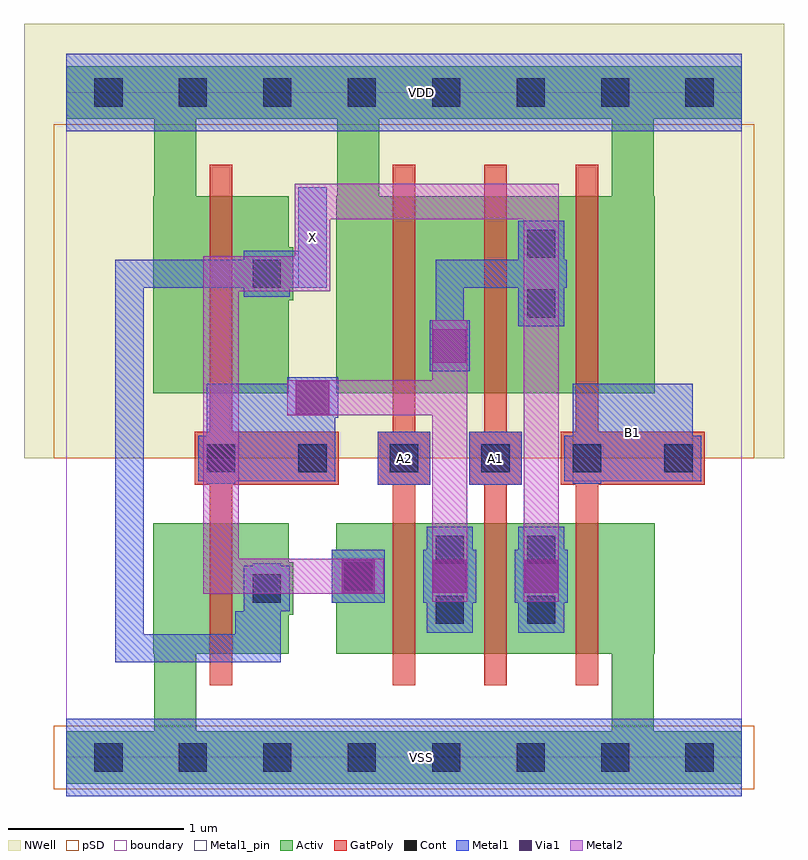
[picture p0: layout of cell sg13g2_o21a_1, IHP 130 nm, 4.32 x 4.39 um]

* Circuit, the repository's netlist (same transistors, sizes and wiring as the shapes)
.SUBCKT sg13g2_o21a_1 X A1 A2 B1 VDD VSS
*.PININFO A1:I A2:I B1:I X:O VDD:B VSS:B
MN0 net1 A1 net2 VSS sg13_lv_nmos w=740.00n l=130.00n ng=1
MN1 net1 A2 net2 VSS sg13_lv_nmos w=740.00n l=130.00n ng=1
MN2 net2 B1 VSS VSS sg13_lv_nmos w=740.00n l=130.00n ng=1
MP0 net1 A1 net3 VDD sg13_lv_pmos w=1.12u l=130.00n ng=1
MP1 net3 A2 VDD VDD sg13_lv_pmos w=1.12u l=130.00n ng=1
MP2 net1 B1 VDD VDD sg13_lv_pmos w=1.12u l=130.00n ng=1
MN3 X net1 VSS VSS sg13_lv_nmos w=740.00n l=130.00n ng=1
MP3 X net1 VDD VDD sg13_lv_pmos w=1.12u l=130.00n ng=1
.ENDS

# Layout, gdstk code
import gdstk
lib = gdstk.Library(unit=1e-6, precision=1e-09)
def R(c, l, rs):  # rectangles x0, y0, x1, y1
    for r in rs: c.add(gdstk.rectangle(r[:2], r[2:], *l))
def A(c, l, x, y, w, h, nx, ny, dx, dy):  # array of equal rectangles
    R(c, l, [(x+i*dx, y+j*dy, x+i*dx+w, y+j*dy+h) for i in range(nx) for j in range(ny)])
def P(c, l, *ps):  # polygons
    for p in ps: c.add(gdstk.Polygon(p, *l))
Activ = (1, 0)
GatPoly = (5, 0)
Cont = (6, 0)
Metal1 = (8, 0)
Metal1_pin = (8, 2)
Metal2 = (10, 0)
pSD = (14, 0)
Via1 = (19, 0)
NWell = (31, 0)
boundary = (189, 4)

sg13g2_o21a_1 = lib.new_cell('sg13g2_o21a_1')
P(sg13g2_o21a_1, Activ, [(0,-0.15),(3.84,-0.15),(3.84,0.15),(3.34,0.15),(3.34,0.59),(3.345,0.59),(3.345,1.33),(1.535,1.33),(1.535,1.18),(1.51,1.18),(1.51,0.88),(1.535,0.88),(1.535,0.59),(3.1,0.59),(3.1,0.15),(0.74,0.15),(0.74,0.59),(1.265,0.59),(1.265,0.81),(1.29,0.81),(1.29,1.11),(1.265,1.11),(1.265,1.33),(0.495,1.33),(0.495,0.59),(0.5,0.59),(0.5,0.15),(0,0.15)],
  [(1.78,3.63),(1.78,3.93),(0,3.93),(0,3.63),(0.5,3.63),(0.5,3.19),(0.495,3.19),(0.495,2.07),(1.265,2.07),(1.265,2.6),(1.29,2.6),(1.29,2.9),(1.265,2.9),(1.265,3.19),(0.74,3.19),(0.74,3.63),(1.54,3.63),(1.54,3.19),(1.535,3.19),(1.535,2.07),(1.78,2.07),(1.78,3.63),(3.1,3.63),(3.1,3.19),(1.78,3.19),(1.78,2.07),(3.345,2.07),(3.345,3.19),(3.34,3.19),(3.34,3.63),(3.84,3.63),(3.84,3.93),(1.78,3.93)])
P(sg13g2_o21a_1, GatPoly, [(0.73,1.55),(0.815,1.55),(0.815,0.41),(0.945,0.41),(0.945,1.55),(1.55,1.55),(1.55,1.85),(0.945,1.85),(0.945,3.37),(0.815,3.37),(0.815,1.85),(0.73,1.85)],
  [(1.77,1.55),(1.855,1.55),(1.855,0.41),(1.985,0.41),(1.985,1.55),(2.07,1.55),(2.07,1.85),(1.985,1.85),(1.985,3.37),(1.855,3.37),(1.855,1.85),(1.77,1.85)],
  [(2.29,1.55),(2.375,1.55),(2.375,0.41),(2.505,0.41),(2.505,1.55),(2.59,1.55),(2.59,1.85),(2.505,1.85),(2.505,3.37),(2.375,3.37),(2.375,1.85),(2.29,1.85)],
  [(2.81,1.55),(2.895,1.55),(2.895,0.41),(3.025,0.41),(3.025,1.55),(3.63,1.55),(3.63,1.85),(3.025,1.85),(3.025,3.37),(2.895,3.37),(2.895,1.85),(2.81,1.85)])
A(sg13g2_o21a_1, Cont, 0.16, -0.08, 0.16, 0.16, 8, 2, 0.48, 3.78)
A(sg13g2_o21a_1, Cont, 0.8, 1.62, 0.16, 0.16, 6, 1, 0.52, 0)
R(sg13g2_o21a_1, Cont, [(2.1,0.76,2.26,0.92), (2.62,0.76,2.78,0.92), (1.06,0.88,1.22,1.04), (1.58,0.95,1.74,1.11), (2.1,1.1,2.26,1.26), (2.62,1.1,2.78,1.26), (2.62,2.5,2.78,2.66), (1.06,2.67,1.22,2.83), (2.62,2.84,2.78,3)])
R(sg13g2_o21a_1, Metal1, [(0,-0.22,3.84,0.22), (1.51,0.88,1.81,1.18), (1.77,1.55,2.07,1.85), (2.29,1.55,2.59,1.85), (0,3.56,3.84,4)])
P(sg13g2_o21a_1, Metal1, [(0.28,0.54),(1.22,0.54),(1.22,0.83),(1.27,0.83),(1.27,1.09),(1.22,1.09),(1.22,1.105),(1.06,1.105),(1.06,1.09),(1.01,1.09),(1.01,0.83),(0.96,0.83),(0.96,0.7),(0.44,0.7),(0.44,2.67),(1.01,2.67),(1.01,2.62),(1.27,2.62),(1.27,2.67),(1.48,2.67),(1.48,3.24),(1.32,3.24),(1.32,2.88),(1.01,2.88),(1.01,2.83),(0.28,2.83)],
  [(0.75,1.57),(0.8,1.57),(0.8,1.555),(0.96,1.555),(0.96,1.57),(1.53,1.57),(1.53,1.93),(1.545,1.93),(1.545,2.16),(1.255,2.16),(1.255,2.125),(0.8,2.125),(0.8,1.83),(0.75,1.83)],
  [(2.03,0.88),(2.05,0.88),(2.05,0.71),(2.31,0.71),(2.31,0.88),(2.33,0.88),(2.33,1.18),(2.31,1.18),(2.31,1.31),(2.05,1.31),(2.05,1.18),(2.03,1.18)],
  [(2.065,2.195),(2.295,2.195),(2.295,2.485),(2.26,2.485),(2.26,2.67),(2.57,2.67),(2.57,2.45),(2.83,2.45),(2.83,2.67),(2.845,2.67),(2.845,2.83),(2.83,2.83),(2.83,3.05),(2.57,3.05),(2.57,2.83),(2.1,2.83),(2.1,2.485),(2.065,2.485)],
  [(2.55,0.88),(2.57,0.88),(2.57,0.71),(2.83,0.71),(2.83,0.88),(2.85,0.88),(2.85,1.18),(2.83,1.18),(2.83,1.31),(2.57,1.31),(2.57,1.18),(2.55,1.18)],
  [(2.83,1.57),(2.88,1.57),(2.88,1.555),(3.04,1.555),(3.04,1.57),(3.61,1.57),(3.61,1.83),(3.56,1.83),(3.56,2.125),(2.88,2.125),(2.88,1.83),(2.83,1.83)])
R(sg13g2_o21a_1, Metal1_pin, [(0,-0.22,3.84,0.22), (1.77,1.55,2.07,1.85), (2.29,1.55,2.59,1.85), (2.88,1.57,3.56,2.125), (1.32,2.67,1.48,3.24), (0,3.56,3.84,4)])
P(sg13g2_o21a_1, Metal2, [(0.78,0.93),(1.805,0.93),(1.805,1.13),(0.98,1.13),(0.98,2.65),(1.5,2.65),(1.5,3.06),(2.6,3.06),(2.6,0.885),(2.8,0.885),(2.8,3.26),(1.3,3.26),(1.3,2.85),(0.78,2.85)],
  [(1.255,1.945),(2.08,1.945),(2.08,0.885),(2.28,0.885),(2.28,2.485),(2.08,2.485),(2.08,2.145),(1.255,2.145)])
R(sg13g2_o21a_1, pSD, [(-0.07,-0.18,3.91,0.18), (-0.07,1.7,3.91,3.6)])
A(sg13g2_o21a_1, Via1, 1.565, 0.935, 0.19, 0.19, 3, 1, 0.52, 0)
R(sg13g2_o21a_1, Via1, [(1.305,1.95,1.495,2.14), (2.085,2.245,2.275,2.435)])
R(sg13g2_o21a_1, NWell, [(-0.24,1.7,4.08,4.17)])
R(sg13g2_o21a_1, boundary, [(0,0,3.84,3.78)])
sg13g2_o21a_1.add(gdstk.Label('X', (1.4,2.955), layer=8, texttype=25))
sg13g2_o21a_1.add(gdstk.Label('A2', (1.92,1.7), layer=8, texttype=25))
sg13g2_o21a_1.add(gdstk.Label('A1', (2.44,1.7), layer=8, texttype=25))
sg13g2_o21a_1.add(gdstk.Label('B1', (3.22,1.845), layer=8, texttype=25))
sg13g2_o21a_1.add(gdstk.Label('VSS', (2.02,0), layer=8, texttype=25))
sg13g2_o21a_1.add(gdstk.Label('VDD', (2.02,3.78), layer=8, texttype=25))

lib.write_gds('sg13g2_o21a_1.gds')
